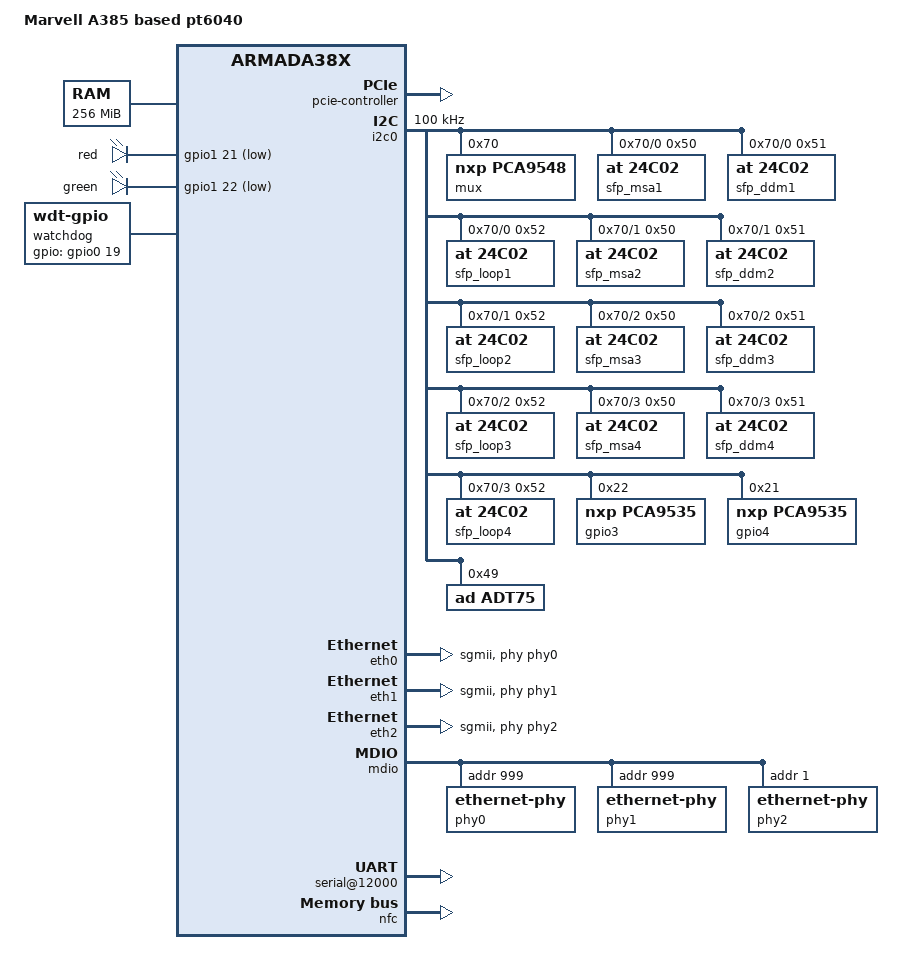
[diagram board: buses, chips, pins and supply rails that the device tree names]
/*
 * Device Tree file for Marvell a385 based pt6040
 *
 *  Copyright (C) 2015 MontaVista
 *
 * Sharath Kurudi <skurudi@mvista.com>
 *
 * This file is licensed under the terms of the GNU General Public
 * License version 2.  This program is licensed "as is" without any
 * warranty of any kind, whether express or implied.
 */

/dts-v1/;
#include "armada-385-388.dtsi"

/ {
	model = "Marvell A385 based pt6040";
	compatible = "marvell,a385-db-ap", "marvell,armada385", "marvell,armada38x";
	
	memory {
		device_type = "memory";
		reg = <0x00000000 0x10000000>; /* 256 MB */
	};


	soc {
		pcie-mem-aperture = <0xe0000000 0x8000000>;
		pcie-io-aperture = <0xe0000000 0x8000000>;

		ranges = <
			  MBUS_ID(0x01, 0x2f) 0 0xfd000000 0x800000     /* NOR flash */
			  MBUS_ID(0xf0, 0x01) 0 0xf1000000 0x100000
			  MBUS_ID(0x01, 0x1d) 0 0xfff00000 0x100000
			  MBUS_ID(0x0c, 0x04) 0 0xf1200000 0x100000     /* BM: PHYS=0xf1200000 size 1M */
			  MBUS_ID(0x0b, 0x04) 0 0xf1300000 0x100000>;   /* PNC: PHYS=0xf1300000 size 1M */

		pcie-controller {
			status = "okay";
		
			pcie@1,0 {
				status = "okay";
			};
			
			pcie@2,0 {
				status = "okay";
			};
		};

		devbus-bootcs {
			status = "okay";
			/* Device Bus parameters are required */

			/* Read parameters */
			devbus,bus-width    = <8>;
			devbus,turn-off-ps  = <60000>;
			devbus,badr-skew-ps = <0>;
			devbus,acc-first-ps = <124000>;
			devbus,acc-next-ps  = <248000>;
			devbus,rd-setup-ps  = <0>;
			devbus,rd-hold-ps   = <0>;

			/* Write parameters */
			devbus,sync-enable = <0>;
			devbus,wr-high-ps  = <60000>;
			devbus,wr-low-ps   = <60000>;
			devbus,ale-wr-ps   = <60000>;


			nor@0 {
					compatible = "spansion,s29gl064n90bfi03", "cfi-flash";
		
					/* 8 MiB */
					reg = <0 0x800000>;
					bank-width = <1>;
					/* Persistent Protection Bit (PPB) support */
					use-advanced-sector-protection;
					#address-cells = <1>;
					#size-cells = <1>;
				};
		};
		
		internal-regs {
			pinctrl {
				leds_gpio: leds-gpio {
					marvell,pins = "mpp20", "mpp53", "mpp54";
					marvell,function = "gpio";
				};
			};

			gpio_leds {
				compatible = "gpio-leds";
				pinctrl-names = "default";
				pinctrl-0 = <&leds_gpio>;

				red_led {
					label = "red";
					gpios = <&gpio1 21 1>;
					default-state = "off";
				};
				green_led {
					label = "green";
					gpios = <&gpio1 22 1>;
					default-state = "on";
				};
			};
		
			usb3@f8000 {
				status = "disabled";
			};

			i2c0: i2c@11000 {
				status = "okay";
				clock-frequency = <100000>;

				mux@70 {
					compatible = "nxp,pca9548";
					reg = <0x70>;
					#address-cells = <1>;
					#size-cells = <0>;

					i2c@0 {
						#address-cells = <1>;
						#size-cells = <0>;
						reg = <0>;
						sfp_msa1: eeprom@50 {
							compatible = "at,24c02";
							reg = <0x50>;
						};
						sfp_ddm1: eeprom@51 {
							compatible = "at,24c02";
							reg = <0x51>;
						};
						sfp_loop1: eeprom@52 {
							compatible = "at,24c02";
							reg = <0x52>;
						};
					};
					i2c@1 {
						#address-cells = <1>;
						#size-cells = <0>;
						reg = <1>;
						sfp_msa2: eeprom@50 {
							compatible = "at,24c02";
							reg = <0x50>;
						};
						sfp_ddm2: eeprom@51 {
							compatible = "at,24c02";
							reg = <0x51>;
						};
						sfp_loop2: eeprom@52 {
							compatible = "at,24c02";
							reg = <0x52>;
						};
					};
					i2c@2 {
						#address-cells = <1>;
						#size-cells = <0>;
						reg = <2>;
						sfp_msa3: eeprom@50 {
							compatible = "at,24c02";
							reg = <0x50>;
						};
						sfp_ddm3: eeprom@51 {
							compatible = "at,24c02";
							reg = <0x51>;
						};
						sfp_loop3: eeprom@52 {
							compatible = "at,24c02";
							reg = <0x52>;
						};
					};
					/* Not available on ML6352 */
					i2c@3 {
						#address-cells = <1>;
						#size-cells = <0>;
						reg = <3>;
						sfp_msa4: eeprom@50 {
							compatible = "at,24c02";
							reg = <0x50>;
						};
						sfp_ddm4: eeprom@51 {
							compatible = "at,24c02";
							reg = <0x51>;
						};
						sfp_loop4: eeprom@52 {
							compatible = "at,24c02";
							reg = <0x52>;
						};
					};
				};

				gpio3: gpio@22 {
					compatible = "nxp,pca9535";
					reg = <0x22>;
					#gpio-cells = <2>;
					gpio-controller;
				};

				gpio4: gpio@21 {
					compatible = "nxp,pca9535";
					reg = <0x21>;
					#gpio-cells = <2>;
					gpio-controller;
				};

				adt75@49 {
					compatible = "ad,adt75";
					reg = <0x49>;
				};
			};

			i2c1: i2c@11100 {
				status = "disabled";
				clock-frequency = <100000>;
			};

			eth0: ethernet@70000 {
				status = "okay";
				phy = <&phy0>;
				phy-mode = "sgmii";
				speed-fixed = <1000>;
				mac-address = [ 00 30 3a 33 30 3a ];
				local-mac-address = [ 00 30 3a 33 30 3a ];
				status = "okay";
			};
		
			eth1: ethernet@30000 {
				status = "okay";
				phy = <&phy1>;
				phy-mode = "sgmii";
				speed-fixed = <1000>;
				mac-address = [ 00 50 43 11 9a b7 ];
				local-mac-address = [ 00 50 43 11 9a b7 ];
			};

			eth2: ethernet@34000 {
				status = "okay";
				phy = <&phy2>;
				phy-mode = "sgmii";
				mac-address = [ 00 50 43 11 ee b7 ];
				local-mac-address = [ 00 50 43 11 ee b7 ];
			};

			mdio {
				phy0: ethernet-phy@0 {
					reg = <999>;
				};

				phy1: ethernet-phy@1 {
					reg = <999>;
				};

				/* Dummy PHY for port 0 and 1 */
				phy2: ethernet-phy@2 {
					reg = <1>;
				};
                        };

			serial@12000 {
				clock-frequency = <200000000>;
				status = "okay";
			};

			/*
			 * 1GB Flash via NFC NAND controller
			 * by defeault disabled, because NFC
			 * shares same pins with SPI0 and
			 * requires SLM-1358 jumper
			*/
			nfc: nand@d0000 {
				status = "okay";
				#address-cells = <1>;
				#size-cells = <1>;
				clock-frequency = <200000000>;

				nfc,nfc-mode  = "normal";       /* normal or ganged */
				nfc,nfc-dma   = <0>;            /* 0 for no, 1 for dma */
				nfc,nfc-width = <8>;
				nfc,ecc-type  = <1>;            /* 4 bit */
				nfc,num-cs    = <1>;
                        };
		};
	};

	watchdog: watchdog {
		compatible = "linux,wdt-gpio";
		gpios = <&gpio0 19 0>;
		hw_algo = "level";
		hw_margin_ms = <10000>;
		always-running;
	};
};
